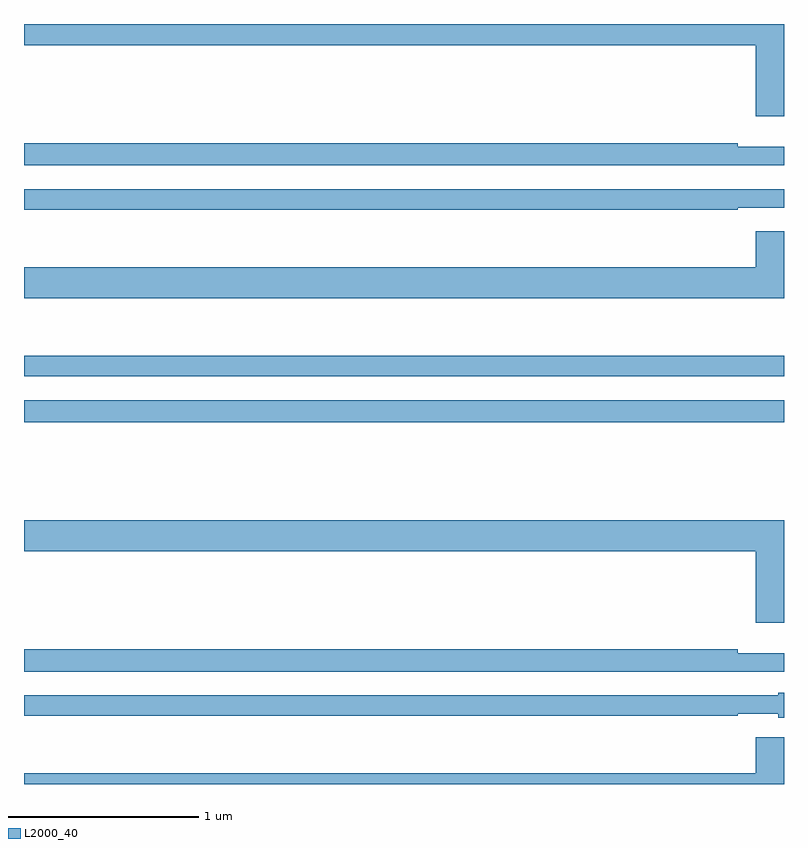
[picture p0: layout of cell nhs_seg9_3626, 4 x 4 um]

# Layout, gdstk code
import gdstk
lib = gdstk.Library(unit=1e-6, precision=1e-09)
def R(c, l, rs):  # rectangles x0, y0, x1, y1
    for r in rs: c.add(gdstk.rectangle(r[:2], r[2:], *l))
def P(c, l, *ps):  # polygons
    for p in ps: c.add(gdstk.Polygon(p, *l))
L2000_40 = (2000, 40)

nhs_seg9_3626 = lib.new_cell('nhs_seg9_3626')
R(nhs_seg9_3626, L2000_40, [(317,1226.404,321,1226.52), (317,1226.646,321,1226.755)])
P(nhs_seg9_3626, L2000_40, [(321,1228.5),(317,1228.5),(317,1228.388),(320.852,1228.388),(320.852,1228.014),(321,1228.014)],
  [(321,1227.853),(320.756,1227.853),(320.756,1227.872),(317,1227.872),(317,1227.756),(321,1227.756)],
  [(320.756,1227.534),(321,1227.534),(321,1227.63),(317,1227.63),(317,1227.522),(320.756,1227.522)],
  [(321,1227.409),(320.852,1227.409),(320.852,1227.22),(317,1227.22),(317,1227.056),(321,1227.056)],
  [(321,1225.888),(317,1225.888),(317,1225.724),(320.852,1225.724),(320.852,1225.35),(321,1225.35)],
  [(321,1225.189),(320.756,1225.189),(320.756,1225.208),(317,1225.208),(317,1225.092),(321,1225.092)],
  [(321,1224.979),(320.97,1224.979),(320.97,1224.966),(317,1224.966),(317,1224.858),(320.756,1224.858),(320.756,1224.87),(320.97,1224.87),(320.97,1224.85),(321,1224.85)],
  [(321,1224.745),(320.852,1224.745),(320.852,1224.556),(317,1224.556),(317,1224.5),(321,1224.5)])

lib.write_gds('nhs_seg9_3626.gds')
